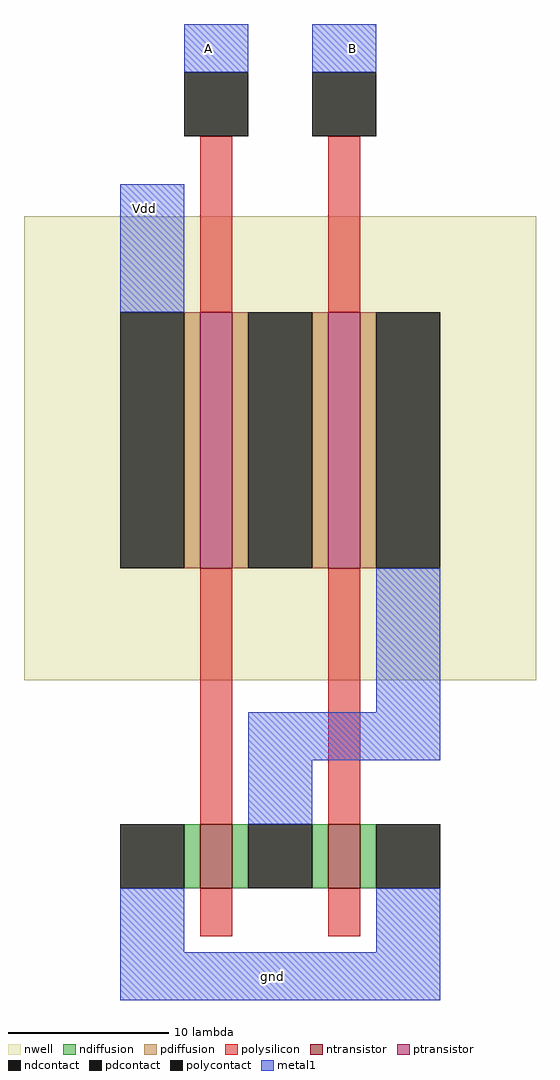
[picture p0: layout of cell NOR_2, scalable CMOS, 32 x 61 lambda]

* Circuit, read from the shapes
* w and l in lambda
.subckt NOR_2 A B Vdd gnd
M1 n1 A gnd VSUBS nfet w=4 l=2
M2 gnd B n1 VSUBS nfet w=4 l=2
M3 n2 A Vdd n3 pfet w=16 l=2
M4 n1 B n2 n3 pfet w=16 l=2
.ends

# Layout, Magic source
magic
tech scmos
<< nwell >>
rect 0 30 32 59
<< ntransistor >>
rect 11 17 13 21
rect 19 17 21 21
<< ptransistor >>
rect 11 37 13 53
rect 19 37 21 53
<< ndiffusion >>
rect 10 17 11 21
rect 13 17 14 21
rect 18 17 19 21
rect 21 17 22 21
<< pdiffusion >>
rect 10 37 11 53
rect 13 37 14 53
rect 18 37 19 53
rect 21 37 22 53
<< ndcontact >>
rect 6 17 10 21
rect 14 17 18 21
rect 22 17 26 21
<< pdcontact >>
rect 6 37 10 53
rect 14 37 18 53
rect 22 37 26 53
<< polysilicon >>
rect 11 53 13 64
rect 19 53 21 64
rect 11 21 13 37
rect 19 21 21 37
rect 11 14 13 17
rect 19 14 21 17
<< polycontact >>
rect 10 64 14 68
rect 18 64 22 68
<< metal1 >>
rect 10 68 14 71
rect 18 68 22 71
rect 6 53 10 61
rect 22 28 26 37
rect 14 25 26 28
rect 14 21 18 25
rect 6 13 10 17
rect 22 13 26 17
rect 6 10 26 13
<< labels >>
rlabel metal1 11 69 12 70 5 A
rlabel metal1 20 69 21 70 5 B
rlabel metal1 15 11 16 12 1 gnd
rlabel metal1 7 59 8 60 1 Vdd
<< end >>
